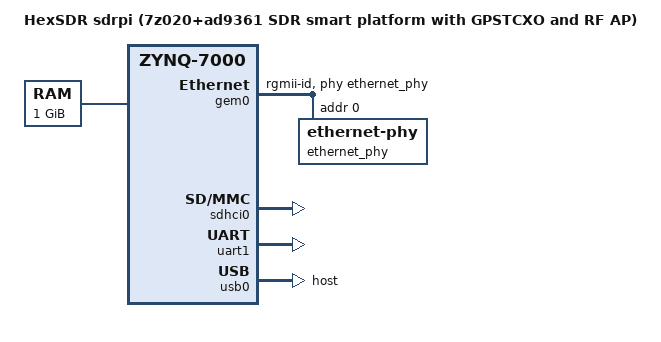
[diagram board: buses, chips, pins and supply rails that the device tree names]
/dts-v1/;
#include "zynq-7000.dtsi"

/ {
	model = "HexSDR sdrpi (7z020+ad9361 SDR smart platform with GPSTCXO and RF AP)";

	memory {
		device_type = "memory";
		reg = <0x0 0x40000000>;
	};

	chosen {
		bootargs = "earlyprintk";
		linux,stdout-path = &uart1;
		stdout-path = &uart1;
	};
};

&gem0 {
	status = "okay";
	phy-mode = "rgmii-id";
	phy-handle = <&ethernet_phy>;

	ethernet_phy: ethernet-phy@0 {
		reg = <0>;
	};
};

&sdhci0 {
	status = "okay";
};

&uart1 {
	status = "okay";
};

&usb0 {
	status = "okay";
	dr_mode = "host";
};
